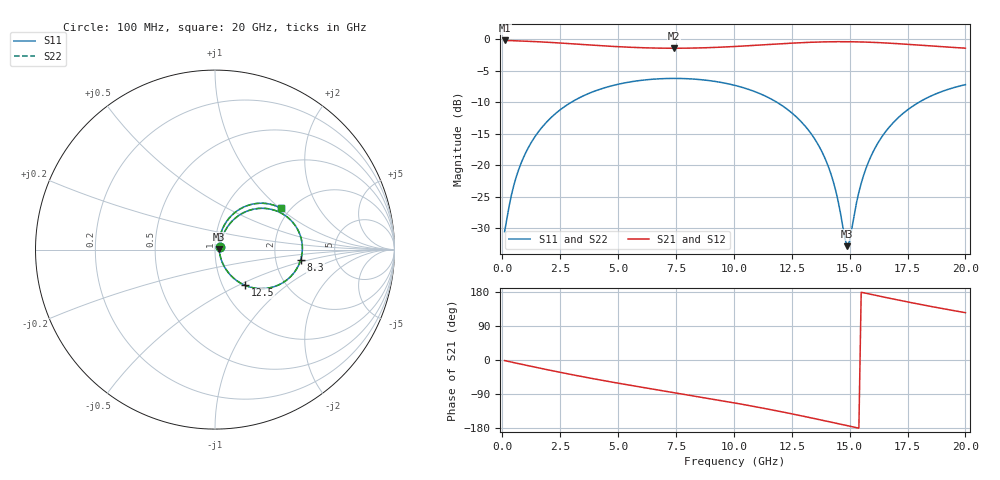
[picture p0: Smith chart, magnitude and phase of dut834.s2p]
! Touchstone file exported from HFSS 2026.1.0
!  File:  C:/ffzhzh/LocalFiles/Ansys_Project_Files/temp_train_TSV_RDL_834_1783267127_30076.aedt
!  Generated:  12:08:43 AM Jul  6, 2026
!  Design:  TSV_RDL
!  Project:  temp_train_TSV_RDL_834_1783267127_30076
! Variables:
!  h_bsmrdl = 3.54um
!  h_ox = 20um
!  h_rdl = 5um
!  h_sub = 56.69um
!  h_tmrdl = 2.28um
!  h_tsv = 56.69um
!  h_via = 3um
!  l_bsmrdl = 440.02um
!  l_sub = 3991.65um
!  l_tmrdl = 540.74um
!  m_sub = 200um
!  pitch = 39.17um
!  r_tsv = 10.8um
!  s_tmrdl = 10um
!  w_bsmrdl = 18.48um
!  w_sub = 500um
!  w_tmrdl = 17.73um
!  x_tsv_center1 = 549.605um
!  x_tsv_center2 = 1008.105um
!  x_tsv_center3 = 1566.575um
!  x_tsv_center4 = 2025.075um
!  x_tsv_center5 = 2583.545um
!  x_tsv_center6 = 3042.045um
# GHz S MA R 50.000000
! Terminal data exported
! Port[1] = TM_RDL1_1_T1
! Port[2] = TM_RDL5_1_T1
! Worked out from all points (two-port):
!   200 points, 100 MHz to 20 GHz, reference 50 ohm
!   highest |S21| = -0.23 dB at 100 MHz (marker M1); lowest = -1.5 dB at 7.4 GHz (marker M2)
!   |S21| within 3 dB of the highest: start of sweep to end of sweep
!   lowest |S11| = -32.8 dB at 14.9 GHz (marker M3), VSWR 1.05, Z = 52.3 + j0.103 ohm
!   |S11| at or under -10 dB: start of sweep to 2.993 GHz; 11.84 GHz to 18.01 GHz (6.165 GHz wide, 41.3 % of centre)
!   |S22| runs from -32.7 to -6.3 dB; largest |S21 - S12| = 1.7e-14
!   S11 on the Smith chart (normalised r, x): 100 MHz: 1.05, +0.03; 8.3 GHz: 2.78, -0.42; 12.5 GHz: 1.27, -0.54; 20 GHz: 1.80, +1.02
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0.1  0.02972 25.0  0.9733 -1.4  0.9733 -1.4  0.02972 25.0
! Gamma 0 0 0 0
! Port Impedance 50 0 50 0
0.4  0.05857 54.9  0.9699 -5.6  0.9699 -5.6  0.05856 54.9
0.6  0.08043 59.7  0.9668 -8.3  0.9668 -8.3  0.08043 59.7
1.2  0.1457 61.2  0.9572 -16.1  0.9572 -16.1  0.1457 61.2
2.2  0.2471 53.6  0.9364 -28.8  0.9364 -28.8  0.2471 53.6
3.5  0.3542 40.5  0.9033 -44.5  0.9033 -44.5  0.3542 40.5
5  0.4376 25.2  0.8686 -61.1  0.8686 -61.1  0.4376 25.3
6.8  0.4837 7.6  0.8459 -79.8  0.8459 -79.8  0.4837 7.6
7.4  0.4869 1.8  0.8443 -85.9  0.8443 -85.9  0.4869 1.9
8.3  0.4806 -6.9  0.8475 -95.0  0.8475 -95.0  0.4806 -6.8
10.1  0.4263 -24.8  0.8728 -114.0  0.8728 -114.0  0.4264 -24.7
12.5  0.2599 -50.0  0.9265 -142.0  0.9265 -142.0  0.2599 -49.9
13.4  0.171 -58.5  0.9426 -153.5  0.9426 -153.5  0.171 -58.4
14.2  0.08444 -60.7  0.9505 -164.0  0.9505 -164.0  0.08453 -60.4
14.5  0.05224 -54.4  0.9516 -168.0  0.9516 -168.0  0.0524 -54.0
14.9  0.0228 2.5  0.9512 -173.3  0.9512 -173.3  0.02318 2.6
15  0.02517 28.5  0.9508 -174.6  0.9508 -174.6  0.02552 28.2
15.4  0.06109 66.3  0.948 -179.9  0.948 -179.9  0.06125 66.0
15.7  0.09349 70.2  0.9446 176.2  0.9446 176.2  0.09359 70.0
16.7  0.199 65.2  0.9267 163.2  0.9267 163.2  0.1991 65.1
18.1  0.3233 51.2  0.8915 146.1  0.8915 146.1  0.3233 51.2
20  0.4344 31.9  0.8458 124.9  0.8458 124.9  0.4345 31.8
